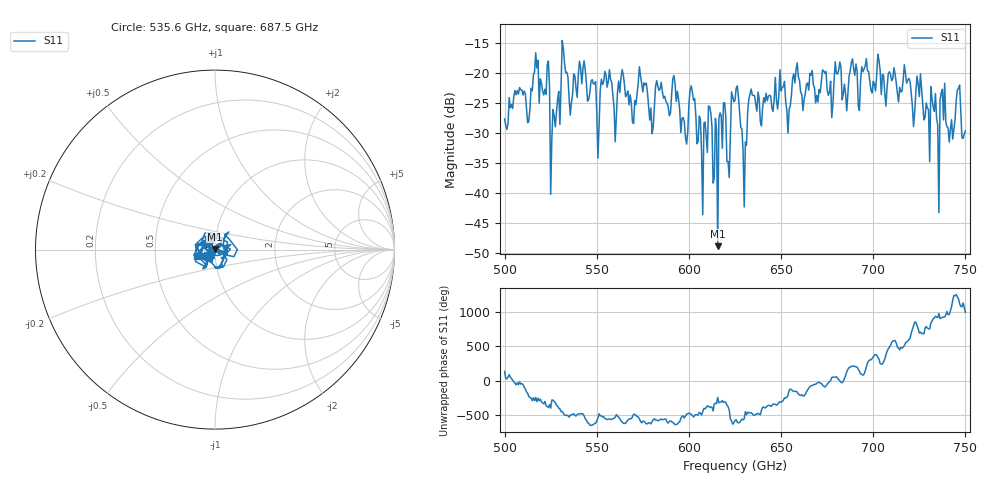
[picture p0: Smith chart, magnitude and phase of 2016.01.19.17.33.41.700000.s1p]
!Created with skrf (http://scikit-rf.org).
# GHz S RI R 50.0
!freq ReS11 ImS11
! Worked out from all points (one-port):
!   401 points, 500 GHz to 750 GHz, reference 50 ohm
!   lowest |S11| = -48.9 dB at 615.6 GHz (marker M1), VSWR 1.01, Z = 49.8 + j0.314 ohm
!   |S11| at or under -10 dB: start of sweep to end of sweep
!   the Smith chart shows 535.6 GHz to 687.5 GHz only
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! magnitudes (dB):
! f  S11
! 500 GHz  -27.7
! 513.1 GHz  -28.0
! 516.9 GHz  -16.6
! 523.1 GHz  -18.5
! 526.2 GHz  -26.1
! 531.2 GHz  -14.5
! 550.6 GHz  -34.2
! 562.5 GHz  -23.2
! 574.4 GHz  -21.6
! 579.4 GHz  -25.8
! 593.8 GHz  -23.0
! 598.1 GHz  -30.7
! 601.9 GHz  -23.2
! 606.2 GHz  -27.7
! 611.2 GHz  -25.6
! 614.4 GHz  -27.5
! 615.6 GHz  -48.9
! 618.1 GHz  -32.6
! 621.2 GHz  -34.7
! 625 GHz  -24.5
! 630 GHz  -42.3
! 633.8 GHz  -22.6
! 656.2 GHz  -20.8
! 687.5 GHz  -19.6
! 718.8 GHz  -21.1
! 734.4 GHz  -27.6
! 746.2 GHz  -22.5
! 750 GHz  -29.6
